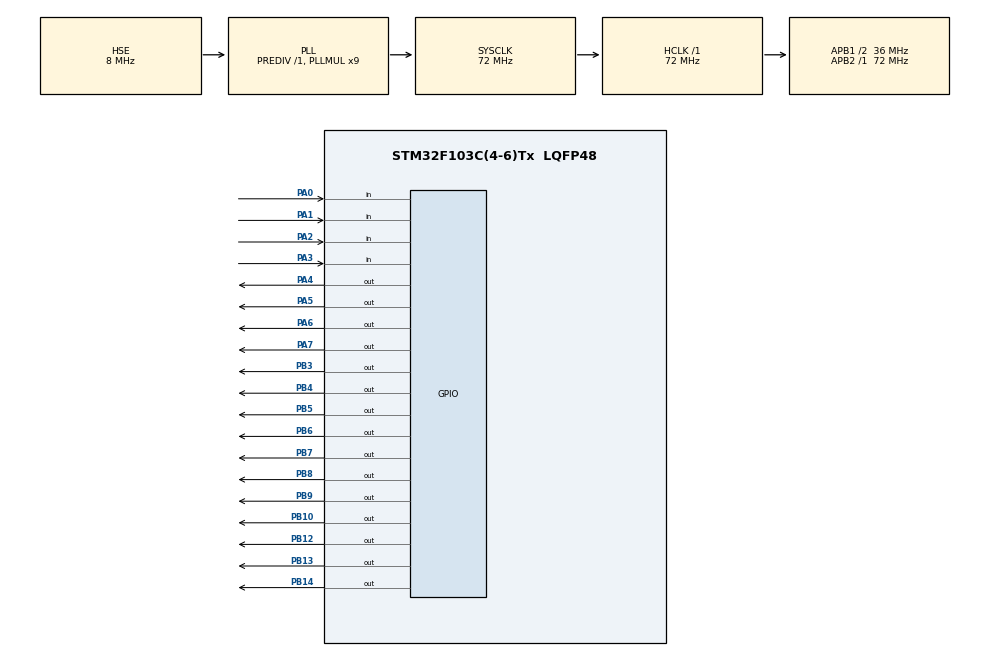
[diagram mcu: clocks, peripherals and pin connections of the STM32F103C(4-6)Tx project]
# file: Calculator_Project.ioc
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Mcu.Family=STM32F1
Mcu.Name=STM32F103C(4-6)Tx
Mcu.Package=LQFP48
NVIC.PriorityGroup=NVIC_PRIORITYGROUP_4
PA0-WKUP.GPIO_PuPd=GPIO_PULLUP
PA0-WKUP.Signal=GPIO_Input
PA1.GPIO_PuPd=GPIO_PULLUP
PA1.Signal=GPIO_Input
PA2.GPIO_PuPd=GPIO_PULLUP
PA2.Signal=GPIO_Input
PA3.GPIO_PuPd=GPIO_PULLUP
PA3.Signal=GPIO_Input
PA4.Signal=GPIO_Output
PA5.Signal=GPIO_Output
PA6.Signal=GPIO_Output
PA7.Signal=GPIO_Output
PB10.Signal=GPIO_Output
PB12.Signal=GPIO_Output
PB13.Signal=GPIO_Output
PB14.Signal=GPIO_Output
PB3.Signal=GPIO_Output
PB4.Signal=GPIO_Output
PB5.Signal=GPIO_Output
PB6.Signal=GPIO_Output
PB7.Signal=GPIO_Output
PB8.Signal=GPIO_Output
PB9.Signal=GPIO_Output
PD0-OSC_IN.Mode=HSE-External-Oscillator
PD0-OSC_IN.Signal=RCC_OSC_IN
PD1-OSC_OUT.Mode=HSE-External-Oscillator
PD1-OSC_OUT.Signal=RCC_OSC_OUT
ProjectManager.HeapSize=0x200
ProjectManager.StackSize=0x400
ProjectManager.TargetToolchain=STM32CubeIDE
RCC.AHBFreq_Value=72000000
RCC.APB1CLKDivider=RCC_HCLK_DIV2
RCC.APB1Freq_Value=36000000
RCC.APB1TimFreq_Value=72000000
RCC.APB2Freq_Value=72000000
RCC.APB2TimFreq_Value=72000000
RCC.HCLKFreq_Value=72000000
RCC.PLLMUL=RCC_PLL_MUL9
RCC.PLLSourceVirtual=RCC_PLLSOURCE_HSE
RCC.SYSCLKFreq_VALUE=72000000
RCC.SYSCLKSource=RCC_SYSCLKSOURCE_PLLCLK
RCC.USBFreq_Value=72000000
VP_SYS_VS_ND.Mode=No_Debug
board=custom

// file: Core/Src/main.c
/* USER CODE BEGIN Header */
/**
  ******************************************************************************
  * @file           : main.c
  * @brief          : Main program body
  ******************************************************************************
  * @attention
  *
  * Copyright (c) 2024 STMicroelectronics.
  * All rights reserved.
  *
  * This software is licensed under terms that can be found in the LICENSE file
  * in the root directory of this software component.
  * If no LICENSE file comes with this software, it is provided AS-IS.
  *
  ******************************************************************************
  */
/* USER CODE END Header */
#include "main.h"

/* USER CODE BEGIN Includes */
#include"LCD_STM32.h"
#include"KEYPAD_STM32.h"
/* USER CODE END Includes */

void SystemClock_Config(void);
static void MX_GPIO_Init(void);

int main(void)
{

  /* MCU Configuration--------------------------------------------------------*/

  /* Reset of all peripherals, Initializes the Flash interface and the Systick. */
  HAL_Init();

  /* Configure the system clock */
  SystemClock_Config();

  /* Initialize all configured peripherals */
  MX_GPIO_Init();
  /* USER CODE BEGIN 2 */

	int32_t a=0,b=0,c=0;
	uint8_t	 key=0,switch_flag=0,operation=0,continue_flag=0;
	LCD_Init();

  /* USER CODE END 2 */

  /* Infinite loop */
  /* USER CODE BEGIN WHILE */
  while (1)
  {
		key = Ketpad_GetKey();
		LCD_sendData(key);

		switch(key)
		{
		case '=':
					if(continue_flag == 0)
					{
						switch(operation)
								{
								case '-':c=a-b;
								break;

								case '+':c=a+b;
								break;

								case '*':c=a*b;
								break;

								case '/':c=a/b;
								break;
								}
					}

					else
					{
						switch(operation)
							{
							case '-':c=c-b;
							break;

							case '+':c=c+b;
							break;

							case '*':c=c*b;
							break;

							case '/':c=c/b;
							break;
							}
					}

					LCD_sendNumber(c);

					continue_flag=1;
					b=0;

			break;

		case '-':
		case '+':
		case '*':
		case '/':
			switch_flag=1;
			operation=key;

			break;
		case 'x':
					  switch_flag=0;
					  continue_flag=0;
					  c=0;
					  a=0;
					  b=0;
					  LCD_sendinst(LCD_CLEAR_COMMAND);

				break;

		default:
			if(switch_flag == 0)
				{
				a = ( ( ( a )* 10 ) + ( key - 48 ) );
				}
			else
			{
				b = ( ( ( b )* 10 ) + ( key - 48 ) );
			}

			break;
		}
		HAL_Delay(100);

    /* USER CODE END WHILE */

  }
}

void SystemClock_Config(void)
{
  RCC_OscInitTypeDef RCC_OscInitStruct = {0};
  RCC_ClkInitTypeDef RCC_ClkInitStruct = {0};

  /** Initializes the RCC Oscillators according to the specified parameters
  * in the RCC_OscInitTypeDef structure.
  */
  RCC_OscInitStruct.OscillatorType = RCC_OSCILLATORTYPE_HSE;
  RCC_OscInitStruct.HSEState = RCC_HSE_ON;
  RCC_OscInitStruct.HSEPredivValue = RCC_HSE_PREDIV_DIV1;
  RCC_OscInitStruct.HSIState = RCC_HSI_ON;
  RCC_OscInitStruct.PLL.PLLState = RCC_PLL_ON;
  RCC_OscInitStruct.PLL.PLLSource = RCC_PLLSOURCE_HSE;
  RCC_OscInitStruct.PLL.PLLMUL = RCC_PLL_MUL9;
  if (HAL_RCC_OscConfig(&RCC_OscInitStruct) != HAL_OK)
  {
    Error_Handler();
  }

  /** Initializes the CPU, AHB and APB buses clocks
  */
  RCC_ClkInitStruct.ClockType = RCC_CLOCKTYPE_HCLK|RCC_CLOCKTYPE_SYSCLK
                              |RCC_CLOCKTYPE_PCLK1|RCC_CLOCKTYPE_PCLK2;
  RCC_ClkInitStruct.SYSCLKSource = RCC_SYSCLKSOURCE_PLLCLK;
  RCC_ClkInitStruct.AHBCLKDivider = RCC_SYSCLK_DIV1;
  RCC_ClkInitStruct.APB1CLKDivider = RCC_HCLK_DIV2;
  RCC_ClkInitStruct.APB2CLKDivider = RCC_HCLK_DIV1;

  if (HAL_RCC_ClockConfig(&RCC_ClkInitStruct, FLASH_LATENCY_2) != HAL_OK)
  {
    Error_Handler();
  }
}

static void MX_GPIO_Init(void)
{
  GPIO_InitTypeDef GPIO_InitStruct = {0};

  /* GPIO Ports Clock Enable */
  __HAL_RCC_GPIOD_CLK_ENABLE();
  __HAL_RCC_GPIOA_CLK_ENABLE();
  __HAL_RCC_GPIOB_CLK_ENABLE();

  /*Configure GPIO pin Output Level */
  HAL_GPIO_WritePin(GPIOA, GPIO_PIN_4|GPIO_PIN_5|GPIO_PIN_6|GPIO_PIN_7, GPIO_PIN_RESET);

  /*Configure GPIO pin Output Level */
  HAL_GPIO_WritePin(GPIOB, GPIO_PIN_10|GPIO_PIN_12|GPIO_PIN_13|GPIO_PIN_14
                          |GPIO_PIN_3|GPIO_PIN_4|GPIO_PIN_5|GPIO_PIN_6
                          |GPIO_PIN_7|GPIO_PIN_8|GPIO_PIN_9, GPIO_PIN_RESET);

  /*Configure GPIO pins : PA0 PA1 PA2 PA3 */
  GPIO_InitStruct.Pin = GPIO_PIN_0|GPIO_PIN_1|GPIO_PIN_2|GPIO_PIN_3;
  GPIO_InitStruct.Mode = GPIO_MODE_INPUT;
  GPIO_InitStruct.Pull = GPIO_PULLUP;
  HAL_GPIO_Init(GPIOA, &GPIO_InitStruct);

  /*Configure GPIO pins : PA4 PA5 PA6 PA7 */
  GPIO_InitStruct.Pin = GPIO_PIN_4|GPIO_PIN_5|GPIO_PIN_6|GPIO_PIN_7;
  GPIO_InitStruct.Mode = GPIO_MODE_OUTPUT_PP;
  GPIO_InitStruct.Pull = GPIO_NOPULL;
  GPIO_InitStruct.Speed = GPIO_SPEED_FREQ_LOW;
  HAL_GPIO_Init(GPIOA, &GPIO_InitStruct);

  /*Configure GPIO pins : PB10 PB12 PB13 PB14
                           PB3 PB4 PB5 PB6
                           PB7 PB8 PB9 */
  GPIO_InitStruct.Pin = GPIO_PIN_10|GPIO_PIN_12|GPIO_PIN_13|GPIO_PIN_14
                          |GPIO_PIN_3|GPIO_PIN_4|GPIO_PIN_5|GPIO_PIN_6
                          |GPIO_PIN_7|GPIO_PIN_8|GPIO_PIN_9;
  GPIO_InitStruct.Mode = GPIO_MODE_OUTPUT_PP;
  GPIO_InitStruct.Pull = GPIO_NOPULL;
  GPIO_InitStruct.Speed = GPIO_SPEED_FREQ_LOW;
  HAL_GPIO_Init(GPIOB, &GPIO_InitStruct);

}

void Error_Handler(void)
{
  __disable_irq();
  while (1)
  {
  }
}
